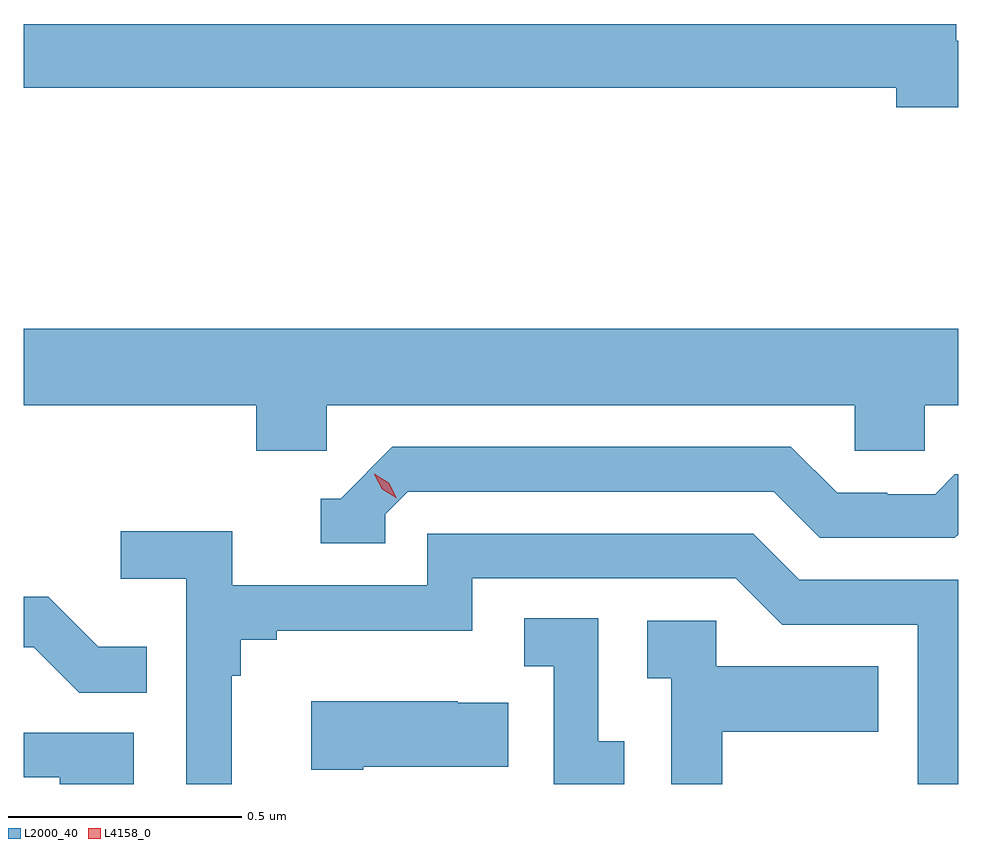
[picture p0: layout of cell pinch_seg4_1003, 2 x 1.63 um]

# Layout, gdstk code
import gdstk
lib = gdstk.Library(unit=1e-6, precision=1e-09)
def P(c, l, *ps):  # polygons
    for p in ps: c.add(gdstk.Polygon(p, *l))
L2000_40 = (2000, 40)
L4158_0 = (4158, 0)

pinch_seg4_1003 = lib.new_cell('pinch_seg4_1003')
P(pinch_seg4_1003, L2000_40, [(868.772,784.28),(868.768,784.28),(868.768,784.316),(866.772,784.316),(866.772,784.18),(868.64,784.18),(868.64,784.138),(868.772,784.138)],
  [(867.42,783.5),(868.551,783.5),(868.551,783.402),(868.701,783.402),(868.701,783.5),(868.772,783.5),(868.772,783.664),(866.772,783.664),(866.772,783.5),(867.269,783.5),(867.269,783.402),(867.42,783.402)],
  [(867.546,783.267),(867.594,783.315),(868.377,783.315),(868.476,783.216),(868.765,783.216),(868.772,783.223),(868.772,783.352),(868.765,783.352),(868.723,783.309),(868.62,783.309),(868.62,783.312),(868.513,783.312),(868.414,783.411),(867.561,783.411),(867.45,783.3),(867.407,783.3),(867.407,783.204),(867.546,783.204)],
  [(867.217,782.921),(867.236,782.921),(867.236,782.998),(867.313,782.998),(867.313,783.017),(867.732,783.017),(867.732,783.129),(868.296,783.129),(868.395,783.03),(868.686,783.03),(868.686,782.689),(868.772,782.689),(868.772,783.126),(868.432,783.126),(868.333,783.225),(867.636,783.225),(867.636,783.114),(867.218,783.114),(867.218,783.23),(866.979,783.23),(866.979,783.128),(867.12,783.128),(867.12,782.689),(867.217,782.689)],
  [(867.035,782.983),(866.931,782.983),(866.824,783.09),(866.772,783.09),(866.772,782.982),(866.793,782.982),(866.891,782.884),(867.035,782.884)],
  [(868.057,782.781),(868.002,782.781),(868.002,783.044),(867.843,783.044),(867.843,782.941),(867.906,782.941),(867.906,782.689),(868.057,782.689)],
  [(868.267,782.801),(868.601,782.801),(868.601,782.941),(868.254,782.941),(868.254,783.039),(868.107,783.039),(868.107,782.915),(868.158,782.915),(868.158,782.689),(868.267,782.689)],
  [(867.499,782.726),(867.809,782.726),(867.809,782.863),(867.701,782.863),(867.701,782.866),(867.387,782.866),(867.387,782.719),(867.499,782.719)],
  [(867.007,782.799),(866.772,782.799),(866.772,782.703),(866.849,782.703),(866.849,782.689),(867.007,782.689)])
P(pinch_seg4_1003, L4158_0, [(867.57,783.301),(867.539,783.32),(867.522,783.352),(867.522,783.353),(867.522,783.353),(867.553,783.334),(867.57,783.301),(867.57,783.301)])

lib.write_gds('pinch_seg4_1003.gds')
